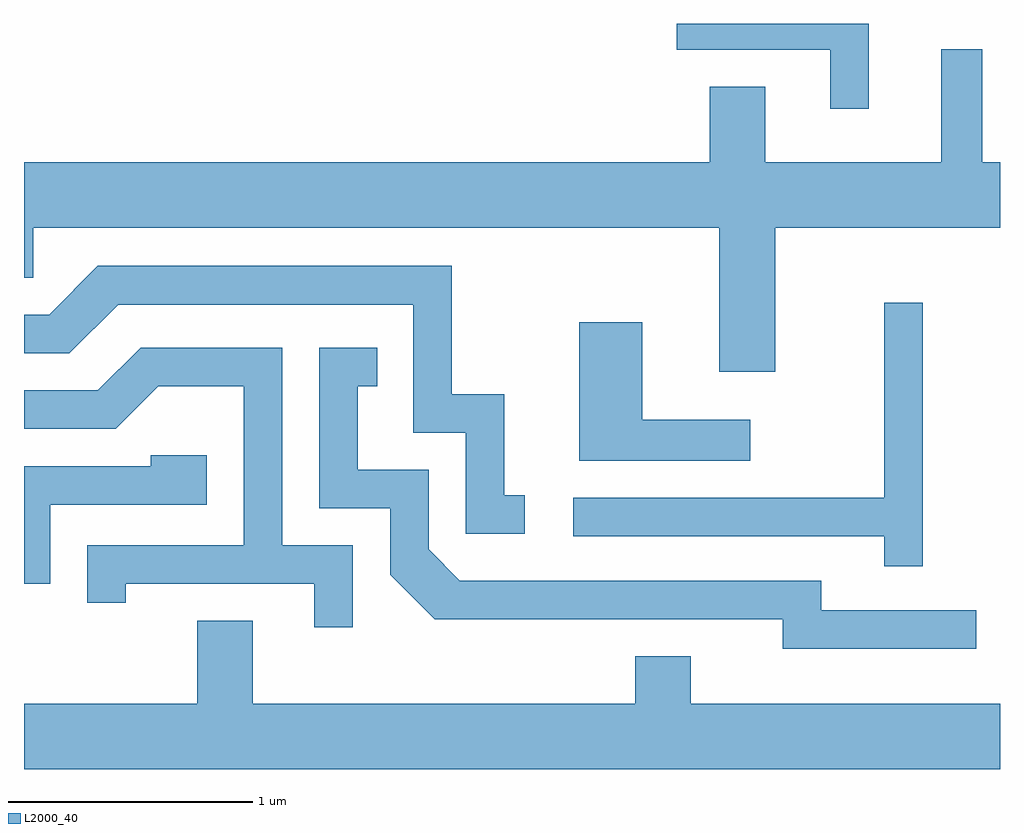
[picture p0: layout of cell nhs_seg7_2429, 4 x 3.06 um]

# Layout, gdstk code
import gdstk
lib = gdstk.Library(unit=1e-6, precision=1e-09)
def P(c, l, *ps):  # polygons
    for p in ps: c.add(gdstk.Polygon(p, *l))
L2000_40 = (2000, 40)

nhs_seg7_2429 = lib.new_cell('nhs_seg7_2429')
P(nhs_seg7_2429, L2000_40, [(263.074,1726.252),(262.286,1726.252),(262.286,1726.146),(262.916,1726.146),(262.916,1725.903),(263.074,1725.903)],
  [(262.689,1725.416),(263.611,1725.416),(263.611,1725.684),(263.539,1725.684),(263.539,1726.148),(263.371,1726.148),(263.371,1725.684),(262.649,1725.684),(262.649,1725.994),(262.421,1725.994),(262.421,1725.684),(259.611,1725.684),(259.611,1725.211),(259.649,1725.211),(259.649,1725.416),(262.461,1725.416),(262.461,1724.826),(262.689,1724.826)],
  [(261.663,1724.319),(261.579,1724.319),(261.579,1724.734),(261.364,1724.734),(261.364,1725.259),(259.914,1725.259),(259.714,1725.059),(259.611,1725.059),(259.611,1724.901),(259.796,1724.901),(259.997,1725.101),(261.206,1725.101),(261.206,1724.576),(261.421,1724.576),(261.421,1724.161),(261.663,1724.161)],
  [(263.294,1725.108),(263.136,1725.108),(263.136,1724.309),(261.863,1724.309),(261.863,1724.151),(263.136,1724.151),(263.136,1724.028),(263.294,1724.028)],
  [(262.588,1724.629),(262.144,1724.629),(262.144,1725.029),(261.886,1725.029),(261.886,1724.461),(262.588,1724.461)],
  [(260.959,1724.114),(260.669,1724.114),(260.669,1724.924),(260.089,1724.924),(259.914,1724.749),(259.611,1724.749),(259.611,1724.591),(259.986,1724.591),(260.162,1724.766),(260.511,1724.766),(260.511,1724.114),(259.871,1724.114),(259.871,1723.878),(260.029,1723.878),(260.029,1723.956),(260.801,1723.956),(260.801,1723.778),(260.959,1723.778)],
  [(263.513,1723.849),(262.879,1723.849),(262.879,1723.969),(261.397,1723.969),(261.269,1724.097),(261.269,1724.424),(260.979,1724.424),(260.979,1724.766),(261.058,1724.766),(261.058,1724.924),(260.821,1724.924),(260.821,1724.266),(261.111,1724.266),(261.111,1723.994),(261.294,1723.811),(262.721,1723.811),(262.721,1723.691),(263.513,1723.691)],
  [(259.719,1724.281),(260.359,1724.281),(260.359,1724.484),(260.131,1724.484),(260.131,1724.439),(259.611,1724.439),(259.611,1723.956),(259.719,1723.956)],
  [(263.611,1723.464),(262.344,1723.464),(262.344,1723.659),(262.116,1723.659),(262.116,1723.464),(260.549,1723.464),(260.549,1723.804),(260.321,1723.804),(260.321,1723.464),(259.611,1723.464),(259.611,1723.196),(263.611,1723.196)])

lib.write_gds('nhs_seg7_2429.gds')
